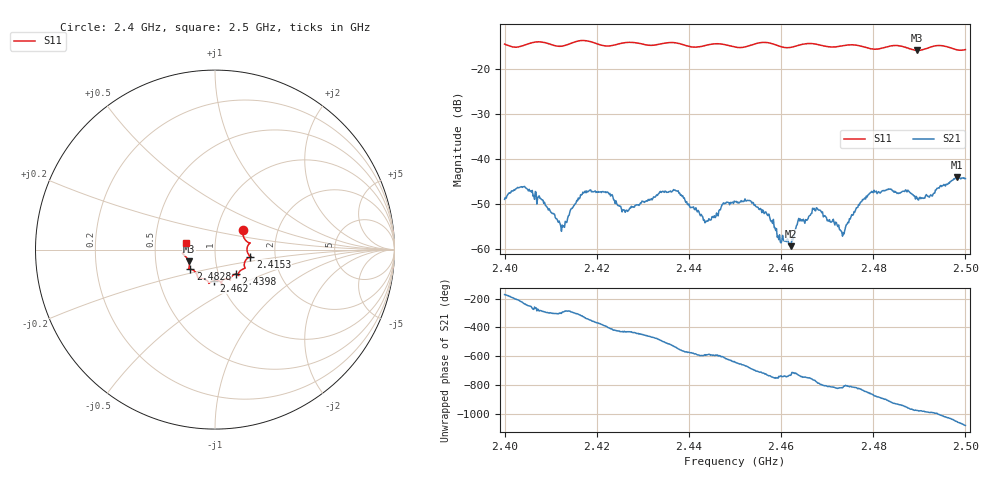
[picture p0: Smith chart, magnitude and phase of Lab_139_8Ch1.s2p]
# Hz S RI R 50
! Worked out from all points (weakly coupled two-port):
!   601 points, 2.4 GHz to 2.5 GHz, reference 50 ohm
!   highest |S21| = -44.14 dB at 2.4982 GHz (marker M1); lowest = -59.5 dB at 2.4622 GHz (marker M2)
!   lowest |S11| = -15.9 dB at 2.4895 GHz (marker M3), VSWR 1.38, Z = 37 - j4.99 ohm
!   |S11| at or under -10 dB: start of sweep to end of sweep
!   S12 and S22 are empty: the file has one direction only
!   S11 on the Smith chart (normalised r, x): 2.4 GHz: 1.33, +0.29; 2.4153 GHz: 1.48, -0.12; 2.4398 GHz: 1.21, -0.34; 2.462 GHz: 0.93, -0.33; 2.4828 GHz: 0.74, -0.17; 2.5 GHz: 0.72, +0.06
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2.4e9  0.1556 0.1068  -0.00349 -0.000538  0 0  0 0
2.4045e9  0.1798 0.0428  -0.00256 0.00403  0 0  0 0
2.4125e9  0.1789 -0.00752  0.000744 0.00167  0 0  0 0
2.415333e9  0.1964 -0.0387  0.00168 0.00266  0 0  0 0
2.416667e9  0.2023 -0.0425  0.00301 0.00256  0 0  0 0
2.422333e9  0.166 -0.0682  0.00334 -0.00265  0 0  0 0
2.426333e9  0.1676 -0.102  0.00095 -0.00247  0 0  0 0
2.433333e9  0.131 -0.1337  -0.00211 -0.00344  0 0  0 0
2.439833e9  0.1154 -0.1364  -0.00261 0.00163  0 0  0 0
2.443667e9  0.0864 -0.1609  -0.00118 0.00163  0 0  0 0
2.45e9  0.0647 -0.1624  0.000663 0.00327  0 0  0 0
2.4535e9  0.0363 -0.1805  0.00281 0.00182  0 0  0 0
2.462e9  -0.00498 -0.1731  0.00106 -0.000243  0 0  0 0
2.462167e9  -0.00721 -0.1737  0.00105 -0.000192  0 0  0 0
2.466667e9  -0.0342 -0.188  0.00195 -0.00151  0 0  0 0
2.473333e9  -0.0829 -0.1605  -0.000226 -0.00136  0 0  0 0
2.477667e9  -0.0978 -0.148  -0.00154 -0.00316  0 0  0 0
2.482833e9  -0.1366 -0.1095  -0.00448 0.000188  0 0  0 0
2.483333e9  -0.1404 -0.1091  -0.00453 0.000914  0 0  0 0
2.4895e9  -0.1462 -0.0658  -0.000833 0.00359  0 0  0 0
2.498167e9  -0.1628 0.00758  0.00559 0.00269  0 0  0 0
2.5e9  -0.1592 0.0391  0.006 -0.000105  0 0  0 0
